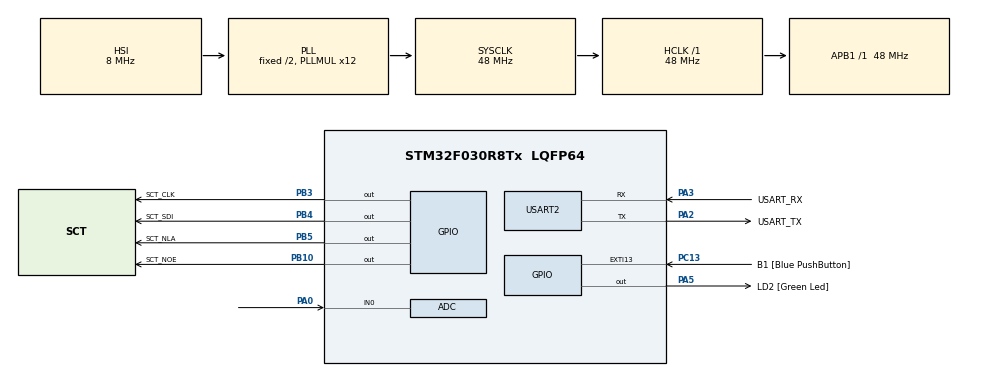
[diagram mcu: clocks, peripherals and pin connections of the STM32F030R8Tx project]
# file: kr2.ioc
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ADC.ContinuousConvMode=ENABLE
ADC.Overrun=ADC_OVR_DATA_OVERWRITTEN
ADC.SamplingTime=ADC_SAMPLETIME_239CYCLES_5
Mcu.Family=STM32F0
Mcu.Name=STM32F030R8Tx
Mcu.Package=LQFP64
NVIC.ADC1_IRQn=true\:0\:0\:false\:false\:true\:true\:true\:true
PA0.Mode=IN0
PA0.Signal=ADC_IN0
PA13.GPIO_Label=TMS
PA13.Mode=Serial_Wire
PA13.Signal=SYS_SWDIO
PA14.GPIO_Label=TCK
PA14.Mode=Serial_Wire
PA14.Signal=SYS_SWCLK
PA2.GPIO_Label=USART_TX
PA2.GPIO_Mode=GPIO_MODE_AF_PP
PA2.GPIO_PuPd=GPIO_NOPULL
PA2.GPIO_Speed=GPIO_SPEED_FREQ_LOW
PA2.Mode=Asynchronous
PA2.Signal=USART2_TX
PA3.GPIO_Label=USART_RX
PA3.GPIO_Mode=GPIO_MODE_AF_PP
PA3.GPIO_PuPd=GPIO_NOPULL
PA3.GPIO_Speed=GPIO_SPEED_FREQ_LOW
PA3.Mode=Asynchronous
PA3.Signal=USART2_RX
PA5.GPIO_Label=LD2 [Green Led]
PA5.GPIO_Mode=GPIO_MODE_OUTPUT_PP
PA5.GPIO_PuPd=GPIO_NOPULL
PA5.GPIO_Speed=GPIO_SPEED_FREQ_LOW
PA5.Signal=GPIO_Output
PB10.GPIO_Label=SCT_NOE
PB10.Signal=GPIO_Output
PB3.GPIO_Label=SCT_CLK
PB3.Signal=GPIO_Output
PB4.GPIO_Label=SCT_SDI
PB4.Signal=GPIO_Output
PB5.GPIO_Label=SCT_NLA
PB5.Signal=GPIO_Output
PC13.GPIO_Label=B1 [Blue PushButton]
PC13.GPIO_ModeDefaultEXTI=GPIO_MODE_IT_FALLING
PC13.Signal=GPXTI13
PC14-OSC32_IN.Mode=LSE-External-Oscillator
PC14-OSC32_IN.Signal=RCC_OSC32_IN
PC15-OSC32_OUT.Mode=LSE-External-Oscillator
PC15-OSC32_OUT.Signal=RCC_OSC32_OUT
PF0-OSC_IN.Mode=HSE-External-Clock-Source
PF0-OSC_IN.Signal=RCC_OSC_IN
PF1-OSC_OUT.Signal=RCC_OSC_OUT
ProjectManager.HeapSize=0x200
ProjectManager.StackSize=0x400
ProjectManager.TargetToolchain=STM32CubeIDE
RCC.AHBFreq_Value=48000000
RCC.APB1Freq_Value=48000000
RCC.APB1TimFreq_Value=48000000
RCC.HCLKFreq_Value=48000000
RCC.PLLMUL=RCC_PLL_MUL12
RCC.SYSCLKFreq_VALUE=48000000
RCC.SYSCLKSource=RCC_SYSCLKSOURCE_PLLCLK
USART2.VirtualMode-Asynchronous=VM_ASYNC
board=NUCLEO-F030R8

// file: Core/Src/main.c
/* USER CODE BEGIN Header */
/**
  ******************************************************************************
  * @file           : main.c
  * @brief          : Main program body
  ******************************************************************************
  * @attention
  *
  * Copyright (c) 2024 STMicroelectronics.
  * All rights reserved.
  *
  * This software is licensed under terms that can be found in the LICENSE file
  * in the root directory of this software component.
  * If no LICENSE file comes with this software, it is provided AS-IS.
  *
  ******************************************************************************
  */
/* USER CODE END Header */
#include "main.h"

/* USER CODE BEGIN Includes */
#include "sct.h"
/* USER CODE END Includes */

ADC_HandleTypeDef hadc;

UART_HandleTypeDef huart2;

void SystemClock_Config(void);
static void MX_GPIO_Init(void);
static void MX_USART2_UART_Init(void);
static void MX_ADC_Init(void);

/* USER CODE BEGIN 0 */
static volatile uint32_t raw_pot;
uint32_t speed;
void HAL_ADC_ConvCpltCallback(ADC_HandleTypeDef* hadc)
{
	raw_pot = HAL_ADC_GetValue(hadc);
	float control = 500 - raw_pot * 480 / 4096;
	speed = (uint32_t) control;
}

/* USER CODE END 0 */

int main(void)
{

  /* MCU Configuration--------------------------------------------------------*/

  /* Reset of all peripherals, Initializes the Flash interface and the Systick. */
  HAL_Init();

  /* Configure the system clock */
  SystemClock_Config();

  /* Initialize all configured peripherals */
  MX_GPIO_Init();
  MX_USART2_UART_Init();
  MX_ADC_Init();
  /* USER CODE BEGIN 2 */
  sct_init();
  HAL_ADCEx_Calibration_Start(&hadc);
  HAL_ADC_Start_IT(&hadc);
  /* USER CODE END 2 */

  /* Infinite loop */
  /* USER CODE BEGIN WHILE */
	while (1) {

		for (int i = 0; i <= 9; i++) {
			HAL_Delay(speed);
			sct_value(i);
		}
		for (int k = 9; k >= 0; k--) {
			HAL_Delay(speed);
			sct_value(k);
		}
    /* USER CODE END WHILE */

  }
}

void SystemClock_Config(void)
{
  RCC_OscInitTypeDef RCC_OscInitStruct = {0};
  RCC_ClkInitTypeDef RCC_ClkInitStruct = {0};

  /** Initializes the RCC Oscillators according to the specified parameters
  * in the RCC_OscInitTypeDef structure.
  */
  RCC_OscInitStruct.OscillatorType = RCC_OSCILLATORTYPE_HSI|RCC_OSCILLATORTYPE_HSI14;
  RCC_OscInitStruct.HSIState = RCC_HSI_ON;
  RCC_OscInitStruct.HSI14State = RCC_HSI14_ON;
  RCC_OscInitStruct.HSICalibrationValue = RCC_HSICALIBRATION_DEFAULT;
  RCC_OscInitStruct.HSI14CalibrationValue = 16;
  RCC_OscInitStruct.PLL.PLLState = RCC_PLL_ON;
  RCC_OscInitStruct.PLL.PLLSource = RCC_PLLSOURCE_HSI;
  RCC_OscInitStruct.PLL.PLLMUL = RCC_PLL_MUL12;
  RCC_OscInitStruct.PLL.PREDIV = RCC_PREDIV_DIV1;
  if (HAL_RCC_OscConfig(&RCC_OscInitStruct) != HAL_OK)
  {
    Error_Handler();
  }

  /** Initializes the CPU, AHB and APB buses clocks
  */
  RCC_ClkInitStruct.ClockType = RCC_CLOCKTYPE_HCLK|RCC_CLOCKTYPE_SYSCLK
                              |RCC_CLOCKTYPE_PCLK1;
  RCC_ClkInitStruct.SYSCLKSource = RCC_SYSCLKSOURCE_PLLCLK;
  RCC_ClkInitStruct.AHBCLKDivider = RCC_SYSCLK_DIV1;
  RCC_ClkInitStruct.APB1CLKDivider = RCC_HCLK_DIV1;

  if (HAL_RCC_ClockConfig(&RCC_ClkInitStruct, FLASH_LATENCY_1) != HAL_OK)
  {
    Error_Handler();
  }
}

static void MX_ADC_Init(void)
{

  ADC_ChannelConfTypeDef sConfig = {0};

  /** Configure the global features of the ADC (Clock, Resolution, Data Alignment and number of conversion)
  */
  hadc.Instance = ADC1;
  hadc.Init.ClockPrescaler = ADC_CLOCK_ASYNC_DIV1;
  hadc.Init.Resolution = ADC_RESOLUTION_12B;
  hadc.Init.DataAlign = ADC_DATAALIGN_RIGHT;
  hadc.Init.ScanConvMode = ADC_SCAN_DIRECTION_FORWARD;
  hadc.Init.EOCSelection = ADC_EOC_SINGLE_CONV;
  hadc.Init.LowPowerAutoWait = DISABLE;
  hadc.Init.LowPowerAutoPowerOff = DISABLE;
  hadc.Init.ContinuousConvMode = ENABLE;
  hadc.Init.DiscontinuousConvMode = DISABLE;
  hadc.Init.ExternalTrigConv = ADC_SOFTWARE_START;
  hadc.Init.ExternalTrigConvEdge = ADC_EXTERNALTRIGCONVEDGE_NONE;
  hadc.Init.DMAContinuousRequests = DISABLE;
  hadc.Init.Overrun = ADC_OVR_DATA_OVERWRITTEN;
  if (HAL_ADC_Init(&hadc) != HAL_OK)
  {
    Error_Handler();
  }

  /** Configure for the selected ADC regular channel to be converted.
  */
  sConfig.Channel = ADC_CHANNEL_0;
  sConfig.Rank = ADC_RANK_CHANNEL_NUMBER;
  sConfig.SamplingTime = ADC_SAMPLETIME_239CYCLES_5;
  if (HAL_ADC_ConfigChannel(&hadc, &sConfig) != HAL_OK)
  {
    Error_Handler();
  }

}

static void MX_USART2_UART_Init(void)
{

  huart2.Instance = USART2;
  huart2.Init.BaudRate = 38400;
  huart2.Init.WordLength = UART_WORDLENGTH_8B;
  huart2.Init.StopBits = UART_STOPBITS_1;
  huart2.Init.Parity = UART_PARITY_NONE;
  huart2.Init.Mode = UART_MODE_TX_RX;
  huart2.Init.HwFlowCtl = UART_HWCONTROL_NONE;
  huart2.Init.OverSampling = UART_OVERSAMPLING_16;
  huart2.Init.OneBitSampling = UART_ONE_BIT_SAMPLE_DISABLE;
  huart2.AdvancedInit.AdvFeatureInit = UART_ADVFEATURE_NO_INIT;
  if (HAL_UART_Init(&huart2) != HAL_OK)
  {
    Error_Handler();
  }

}

static void MX_GPIO_Init(void)
{
  GPIO_InitTypeDef GPIO_InitStruct = {0};

  /* GPIO Ports Clock Enable */
  __HAL_RCC_GPIOC_CLK_ENABLE();
  __HAL_RCC_GPIOF_CLK_ENABLE();
  __HAL_RCC_GPIOA_CLK_ENABLE();
  __HAL_RCC_GPIOB_CLK_ENABLE();

  /*Configure GPIO pin Output Level */
  HAL_GPIO_WritePin(LD2_GPIO_Port, LD2_Pin, GPIO_PIN_RESET);

  /*Configure GPIO pin Output Level */
  HAL_GPIO_WritePin(GPIOB, SCT_NOE_Pin|SCT_CLK_Pin|SCT_SDI_Pin|SCT_NLA_Pin, GPIO_PIN_RESET);

  /*Configure GPIO pin : B1_Pin */
  GPIO_InitStruct.Pin = B1_Pin;
  GPIO_InitStruct.Mode = GPIO_MODE_IT_FALLING;
  GPIO_InitStruct.Pull = GPIO_NOPULL;
  HAL_GPIO_Init(B1_GPIO_Port, &GPIO_InitStruct);

  /*Configure GPIO pin : LD2_Pin */
  GPIO_InitStruct.Pin = LD2_Pin;
  GPIO_InitStruct.Mode = GPIO_MODE_OUTPUT_PP;
  GPIO_InitStruct.Pull = GPIO_NOPULL;
  GPIO_InitStruct.Speed = GPIO_SPEED_FREQ_LOW;
  HAL_GPIO_Init(LD2_GPIO_Port, &GPIO_InitStruct);

  /*Configure GPIO pins : SCT_NOE_Pin SCT_CLK_Pin SCT_SDI_Pin SCT_NLA_Pin */
  GPIO_InitStruct.Pin = SCT_NOE_Pin|SCT_CLK_Pin|SCT_SDI_Pin|SCT_NLA_Pin;
  GPIO_InitStruct.Mode = GPIO_MODE_OUTPUT_PP;
  GPIO_InitStruct.Pull = GPIO_NOPULL;
  GPIO_InitStruct.Speed = GPIO_SPEED_FREQ_LOW;
  HAL_GPIO_Init(GPIOB, &GPIO_InitStruct);

}

void Error_Handler(void)
{
  __disable_irq();
  while (1)
  {
  }
}
